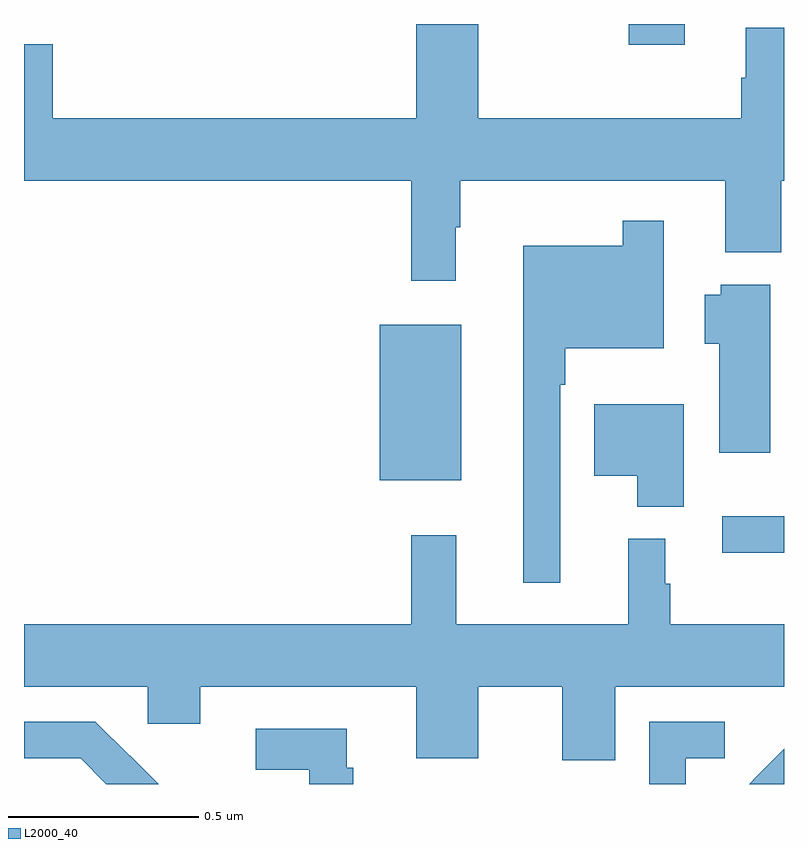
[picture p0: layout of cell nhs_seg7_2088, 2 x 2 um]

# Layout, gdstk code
import gdstk
lib = gdstk.Library(unit=1e-6, precision=1e-09)
def R(c, l, rs):  # rectangles x0, y0, x1, y1
    for r in rs: c.add(gdstk.rectangle(r[:2], r[2:], *l))
def P(c, l, *ps):  # polygons
    for p in ps: c.add(gdstk.Polygon(p, *l))
L2000_40 = (2000, 40)

nhs_seg7_2088 = lib.new_cell('nhs_seg7_2088')
R(nhs_seg7_2088, L2000_40, [(141.837,1027.608,142,1027.704), (140.936,1027.799,141.151,1028.209), (141.591,1028.946,141.739,1029)])
P(nhs_seg7_2088, L2000_40, [(141.136,1028.465),(141.148,1028.465),(141.148,1028.588),(141.845,1028.588),(141.845,1028.399),(141.993,1028.399),(141.993,1028.588),(142,1028.588),(142,1028.99),(141.899,1028.99),(141.899,1028.858),(141.887,1028.858),(141.887,1028.752),(141.196,1028.752),(141.196,1029),(141.032,1029),(141.032,1028.752),(140.075,1028.752),(140.075,1028.947),(140,1028.947),(140,1028.588),(141.019,1028.588),(141.019,1028.325),(141.136,1028.325)],
  [(141.411,1028.051),(141.424,1028.051),(141.424,1028.147),(141.684,1028.147),(141.684,1028.482),(141.576,1028.482),(141.576,1028.416),(141.314,1028.416),(141.314,1027.53),(141.411,1027.53)],
  [(141.964,1028.314),(141.834,1028.314),(141.834,1028.287),(141.791,1028.287),(141.791,1028.158),(141.83,1028.158),(141.83,1027.872),(141.964,1027.872)],
  [(141.736,1027.999),(141.5,1027.999),(141.5,1027.811),(141.614,1027.811),(141.614,1027.73),(141.736,1027.73)],
  [(141.556,1027.256),(142,1027.256),(142,1027.42),(141.7,1027.42),(141.7,1027.527),(141.688,1027.527),(141.688,1027.645),(141.59,1027.645),(141.59,1027.42),(141.137,1027.42),(141.137,1027.654),(141.019,1027.654),(141.019,1027.42),(140,1027.42),(140,1027.256),(140.325,1027.256),(140.325,1027.158),(140.464,1027.158),(140.464,1027.256),(141.032,1027.256),(141.032,1027.068),(141.196,1027.068),(141.196,1027.256),(141.416,1027.256),(141.416,1027.062),(141.556,1027.062)],
  [(140.28,1027.074),(140.279,1027.073),(140.188,1027.164),(140,1027.164),(140,1027.068),(140.149,1027.068),(140.211,1027.005),(140.216,1027),(140.354,1027)],
  [(141.741,1027.068),(141.844,1027.068),(141.844,1027.164),(141.645,1027.164),(141.645,1027),(141.741,1027)],
  [(140.867,1027.043),(140.849,1027.043),(140.849,1027.146),(140.61,1027.146),(140.61,1027.038),(140.75,1027.038),(140.75,1027),(140.867,1027)],
  [(142,1027.093),(141.923,1027.015),(141.914,1027.005),(141.909,1027),(142,1027)])

lib.write_gds('nhs_seg7_2088.gds')
